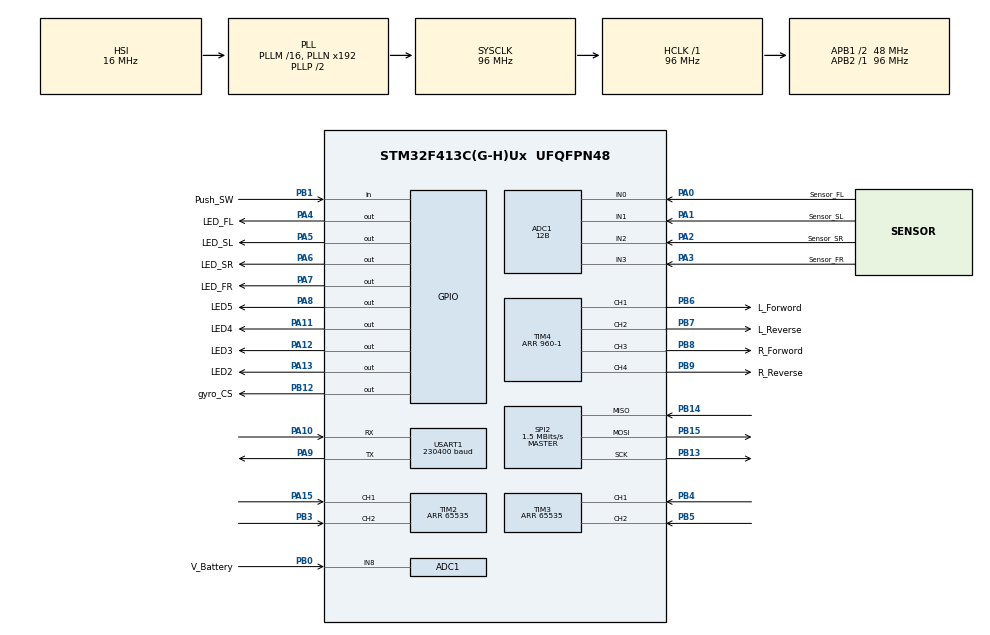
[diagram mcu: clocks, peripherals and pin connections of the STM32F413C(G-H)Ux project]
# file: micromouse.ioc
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ADC1.Channel-0\#ChannelRegularConversion=ADC_CHANNEL_8
ADC1.Channel-1\#ChannelRegularConversion=ADC_CHANNEL_0
ADC1.Channel-2\#ChannelRegularConversion=ADC_CHANNEL_1
ADC1.Channel-3\#ChannelRegularConversion=ADC_CHANNEL_2
ADC1.Channel-4\#ChannelRegularConversion=ADC_CHANNEL_3
ADC1.ClockPrescaler=ADC_CLOCK_SYNC_PCLK_DIV4
ADC1.ContinuousConvMode=DISABLE
ADC1.DMAContinuousRequests=ENABLE
ADC1.EOCSelection=ADC_EOC_SEQ_CONV
ADC1.ExternalTrigConv=ADC_EXTERNALTRIGCONV_T1_CC3
ADC1.ExternalTrigConvEdge=ADC_EXTERNALTRIGCONVEDGE_RISINGFALLING
ADC1.NbrOfConversion=5
ADC1.NbrOfConversionFlag=1
ADC1.Rank-0\#ChannelRegularConversion=1
ADC1.Rank-1\#ChannelRegularConversion=2
ADC1.Rank-2\#ChannelRegularConversion=3
ADC1.Rank-3\#ChannelRegularConversion=4
ADC1.Rank-4\#ChannelRegularConversion=5
ADC1.Resolution=ADC_RESOLUTION_12B
ADC1.SamplingTime-0\#ChannelRegularConversion=ADC_SAMPLETIME_56CYCLES
ADC1.SamplingTime-1\#ChannelRegularConversion=ADC_SAMPLETIME_56CYCLES
ADC1.SamplingTime-2\#ChannelRegularConversion=ADC_SAMPLETIME_56CYCLES
ADC1.SamplingTime-3\#ChannelRegularConversion=ADC_SAMPLETIME_56CYCLES
ADC1.SamplingTime-4\#ChannelRegularConversion=ADC_SAMPLETIME_56CYCLES
ADC1.ScanConvMode=ENABLE
ADC1.master=1
Dma.ADC1.2.Direction=DMA_PERIPH_TO_MEMORY
Dma.ADC1.2.FIFOMode=DMA_FIFOMODE_DISABLE
Dma.ADC1.2.Instance=DMA2_Stream0
Dma.ADC1.2.MemDataAlignment=DMA_MDATAALIGN_HALFWORD
Dma.ADC1.2.MemInc=DMA_MINC_ENABLE
Dma.ADC1.2.Mode=DMA_CIRCULAR
Dma.ADC1.2.PeriphDataAlignment=DMA_PDATAALIGN_HALFWORD
Dma.ADC1.2.PeriphInc=DMA_PINC_DISABLE
Dma.ADC1.2.Priority=DMA_PRIORITY_VERY_HIGH
Dma.Request0=SPI2_RX
Dma.Request1=SPI2_TX
Dma.Request2=ADC1
Dma.Request3=TIM1_CH1
Dma.Request4=TIM1_CH2
Dma.SPI2_RX.0.Direction=DMA_PERIPH_TO_MEMORY
Dma.SPI2_RX.0.FIFOMode=DMA_FIFOMODE_DISABLE
Dma.SPI2_RX.0.Instance=DMA1_Stream3
Dma.SPI2_RX.0.MemDataAlignment=DMA_MDATAALIGN_BYTE
Dma.SPI2_RX.0.MemInc=DMA_MINC_ENABLE
Dma.SPI2_RX.0.Mode=DMA_NORMAL
Dma.SPI2_RX.0.PeriphDataAlignment=DMA_PDATAALIGN_BYTE
Dma.SPI2_RX.0.PeriphInc=DMA_PINC_DISABLE
Dma.SPI2_RX.0.Priority=DMA_PRIORITY_HIGH
Dma.SPI2_TX.1.Direction=DMA_MEMORY_TO_PERIPH
Dma.SPI2_TX.1.FIFOMode=DMA_FIFOMODE_DISABLE
Dma.SPI2_TX.1.Instance=DMA1_Stream4
Dma.SPI2_TX.1.MemDataAlignment=DMA_MDATAALIGN_BYTE
Dma.SPI2_TX.1.MemInc=DMA_MINC_ENABLE
Dma.SPI2_TX.1.Mode=DMA_NORMAL
Dma.SPI2_TX.1.PeriphDataAlignment=DMA_PDATAALIGN_BYTE
Dma.SPI2_TX.1.PeriphInc=DMA_PINC_DISABLE
Dma.SPI2_TX.1.Priority=DMA_PRIORITY_HIGH
Dma.TIM1_CH1.3.Direction=DMA_MEMORY_TO_PERIPH
Dma.TIM1_CH1.3.FIFOMode=DMA_FIFOMODE_DISABLE
Dma.TIM1_CH1.3.Instance=DMA2_Stream1
Dma.TIM1_CH1.3.MemDataAlignment=DMA_MDATAALIGN_HALFWORD
Dma.TIM1_CH1.3.MemInc=DMA_MINC_ENABLE
Dma.TIM1_CH1.3.Mode=DMA_CIRCULAR
Dma.TIM1_CH1.3.PeriphDataAlignment=DMA_PDATAALIGN_HALFWORD
Dma.TIM1_CH1.3.PeriphInc=DMA_PINC_DISABLE
Dma.TIM1_CH1.3.Priority=DMA_PRIORITY_HIGH
Dma.TIM1_CH2.4.Direction=DMA_MEMORY_TO_PERIPH
Dma.TIM1_CH2.4.FIFOMode=DMA_FIFOMODE_DISABLE
Dma.TIM1_CH2.4.Instance=DMA2_Stream2
Dma.TIM1_CH2.4.MemDataAlignment=DMA_MDATAALIGN_HALFWORD
Dma.TIM1_CH2.4.MemInc=DMA_MINC_ENABLE
Dma.TIM1_CH2.4.Mode=DMA_CIRCULAR
Dma.TIM1_CH2.4.PeriphDataAlignment=DMA_PDATAALIGN_HALFWORD
Dma.TIM1_CH2.4.PeriphInc=DMA_PINC_DISABLE
Dma.TIM1_CH2.4.Priority=DMA_PRIORITY_HIGH
Mcu.Family=STM32F4
Mcu.Name=STM32F413C(G-H)Ux
Mcu.Package=UFQFPN48
NVIC.DMA1_Stream3_IRQn=true\:0\:0\:false\:false\:true\:false\:true
NVIC.DMA1_Stream4_IRQn=true\:0\:0\:false\:false\:true\:false\:true
NVIC.DMA2_Stream0_IRQn=true\:0\:0\:true\:false\:true\:false\:true
NVIC.DMA2_Stream1_IRQn=true\:1\:0\:true\:false\:true\:false\:true
NVIC.DMA2_Stream2_IRQn=true\:1\:0\:true\:false\:true\:false\:true
NVIC.PriorityGroup=NVIC_PRIORITYGROUP_4
NVIC.TIM6_DAC_IRQn=true\:2\:0\:true\:false\:true\:true\:true
PA0.GPIO_Label=Sensor_FL
PA0.Signal=ADCx_IN0
PA1.GPIO_Label=Sensor_SL
PA1.Signal=ADCx_IN1
PA10.Mode=Asynchronous
PA10.Signal=USART1_RX
PA11.GPIO_Label=LED4
PA11.GPIO_PuPd=GPIO_PULLDOWN
PA11.GPIO_Speed=GPIO_SPEED_FREQ_VERY_HIGH
PA11.Signal=GPIO_Output
PA12.GPIO_Label=LED3
PA12.GPIO_PuPd=GPIO_PULLDOWN
PA12.GPIO_Speed=GPIO_SPEED_FREQ_VERY_HIGH
PA12.Signal=GPIO_Output
PA13.GPIO_Label=LED2
PA13.GPIO_PuPd=GPIO_PULLDOWN
PA13.GPIO_Speed=GPIO_SPEED_FREQ_VERY_HIGH
PA13.Signal=GPIO_Output
PA15.Signal=S_TIM2_CH1_ETR
PA2.GPIO_Label=Sensor_SR
PA2.Signal=ADCx_IN2
PA3.GPIO_Label=Sensor_FR
PA3.Signal=ADCx_IN3
PA4.GPIO_Label=LED_FL
PA4.GPIO_Speed=GPIO_SPEED_FREQ_VERY_HIGH
PA4.Signal=GPIO_Output
PA5.GPIO_Label=LED_SL
PA5.GPIO_Speed=GPIO_SPEED_FREQ_VERY_HIGH
PA5.Signal=GPIO_Output
PA6.GPIO_Label=LED_SR
PA6.GPIO_Speed=GPIO_SPEED_FREQ_VERY_HIGH
PA6.PinState=GPIO_PIN_RESET
PA6.Signal=GPIO_Output
PA7.GPIO_Label=LED_FR
PA7.GPIO_Speed=GPIO_SPEED_FREQ_VERY_HIGH
PA7.Signal=GPIO_Output
PA8.GPIO_Label=LED5
PA8.GPIO_PuPd=GPIO_PULLDOWN
PA8.GPIO_Speed=GPIO_SPEED_FREQ_VERY_HIGH
PA8.Signal=GPIO_Output
PA9.Mode=Asynchronous
PA9.Signal=USART1_TX
PB0.GPIO_Label=V_Battery
PB0.Signal=ADCx_IN8
PB1.GPIO_Label=Push_SW
PB1.Signal=GPIO_Input
PB12.GPIO_Label=gyro_CS
PB12.GPIO_Speed=GPIO_SPEED_FREQ_VERY_HIGH
PB12.Signal=GPIO_Output
PB13.Mode=Full_Duplex_Master
PB13.Signal=SPI2_SCK
PB14.Mode=Full_Duplex_Master
PB14.Signal=SPI2_MISO
PB15.Mode=Full_Duplex_Master
PB15.Signal=SPI2_MOSI
PB3.Signal=S_TIM2_CH2
PB4.Signal=S_TIM3_CH1
PB5.Signal=S_TIM3_CH2
PB6.GPIO_Label=L_Forword
PB6.GPIO_Speed=GPIO_SPEED_FREQ_VERY_HIGH
PB6.Signal=S_TIM4_CH1
PB7.GPIO_Label=L_Reverse
PB7.GPIO_Speed=GPIO_SPEED_FREQ_VERY_HIGH
PB7.Signal=S_TIM4_CH2
PB8.GPIO_Label=R_Forword
PB8.GPIO_Speed=GPIO_SPEED_FREQ_VERY_HIGH
PB8.Signal=S_TIM4_CH3
PB9.GPIO_Label=R_Reverse
PB9.GPIO_Speed=GPIO_SPEED_FREQ_VERY_HIGH
PB9.Signal=S_TIM4_CH4
ProjectManager.HeapSize=0x200
ProjectManager.StackSize=0x400
ProjectManager.TargetToolchain=Makefile
RCC.AHBFreq_Value=96000000
RCC.APB1CLKDivider=RCC_HCLK_DIV2
RCC.APB1Freq_Value=48000000
RCC.APB1TimFreq_Value=96000000
RCC.APB2Freq_Value=96000000
RCC.APB2TimFreq_Value=96000000
RCC.CortexFreq_Value=96000000
RCC.HCLKFreq_Value=96000000
RCC.SYSCLKFreq_VALUE=96000000
RCC.SYSCLKSource=RCC_SYSCLKSOURCE_PLLCLK
RCC.USBFreq_Value=96000000
RCC.VCOOutputFreq_Value=192000000
SH.ADCx_IN0.0=ADC1_IN0,IN0
SH.ADCx_IN1.0=ADC1_IN1,IN1
SH.ADCx_IN2.0=ADC1_IN2,IN2
SH.ADCx_IN3.0=ADC1_IN3,IN3
SH.ADCx_IN8.0=ADC1_IN8,IN8
SH.S_TIM2_CH1_ETR.0=TIM2_CH1,Encoder_Interface
SH.S_TIM2_CH2.0=TIM2_CH2,Encoder_Interface
SH.S_TIM3_CH1.0=TIM3_CH1,Encoder_Interface
SH.S_TIM3_CH2.0=TIM3_CH2,Encoder_Interface
SH.S_TIM4_CH1.0=TIM4_CH1,PWM Generation1 CH1
SH.S_TIM4_CH2.0=TIM4_CH2,PWM Generation2 CH2
SH.S_TIM4_CH3.0=TIM4_CH3,PWM Generation3 CH3
SH.S_TIM4_CH4.0=TIM4_CH4,PWM Generation4 CH4
SPI2.BaudRatePrescaler=SPI_BAUDRATEPRESCALER_32
SPI2.CLKPhase=SPI_PHASE_2EDGE
SPI2.CLKPolarity=SPI_POLARITY_HIGH
SPI2.CalculateBaudRate=1.5 MBits/s
SPI2.Direction=SPI_DIRECTION_2LINES
SPI2.Mode=SPI_MODE_MASTER
SPI2.VirtualType=VM_MASTER
TIM1.AutomaticOutput=TIM_AUTOMATICOUTPUT_DISABLE
TIM1.Channel-Output\ Compare3\ No\ Output=TIM_CHANNEL_3
TIM1.Channel-PWM\ Generation1\ No\ Output=TIM_CHANNEL_1
TIM1.Channel-PWM\ Generation2\ No\ Output=TIM_CHANNEL_2
TIM1.ClockDivision=TIM_CLOCKDIVISION_DIV1
TIM1.OCMode_3=TIM_OCMODE_TOGGLE
TIM1.Period=64000-1
TIM1.Prescaler=0
TIM1.Pulse-Output\ Compare3\ No\ Output=5760
TIM1.Pulse-PWM\ Generation1\ No\ Output=2-1
TIM1.Pulse-PWM\ Generation2\ No\ Output=7000
TIM1.TIM_MasterOutputTrigger=TIM_TRGO_RESET
TIM2.EncoderMode=TIM_ENCODERMODE_TI12
TIM2.Period=65535
TIM3.EncoderMode=TIM_ENCODERMODE_TI12
TIM3.Period=65535
TIM4.Channel-PWM\ Generation1\ CH1=TIM_CHANNEL_1
TIM4.Channel-PWM\ Generation2\ CH2=TIM_CHANNEL_2
TIM4.Channel-PWM\ Generation3\ CH3=TIM_CHANNEL_3
TIM4.Channel-PWM\ Generation4\ CH4=TIM_CHANNEL_4
TIM4.OCMode_PWM-PWM\ Generation1\ CH1=TIM_OCMODE_PWM2
TIM4.OCMode_PWM-PWM\ Generation2\ CH2=TIM_OCMODE_PWM2
TIM4.OCMode_PWM-PWM\ Generation3\ CH3=TIM_OCMODE_PWM2
TIM4.OCMode_PWM-PWM\ Generation4\ CH4=TIM_OCMODE_PWM2
TIM4.Period=960-1
TIM6.Period=24000-1
TIM6.Prescaler=4-1
USART1.BaudRate=230400
USART1.VirtualMode=VM_ASYNC
VP_TIM1_VS_ClockSourceINT.Mode=Internal
VP_TIM1_VS_no_output1.Mode=PWM Generation1 No Output
VP_TIM1_VS_no_output2.Mode=PWM Generation2 No Output
VP_TIM1_VS_no_output3.Mode=Output Compare3 No Output
VP_TIM4_VS_ClockSourceINT.Mode=Internal
VP_TIM6_VS_ClockSourceINT.Mode=Enable_Timer
board=custom

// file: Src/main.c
/* USER CODE BEGIN Header */
/**
  ******************************************************************************
  * @file           : main.c
  * @brief          : Main program body
  ******************************************************************************
  * @attention
  *
  * <h2><center>&copy; Copyright (c) 2020 STMicroelectronics.
  * All rights reserved.</center></h2>
  *
  * This software component is licensed by ST under BSD 3-Clause license,
  * the "License"; You may not use this file except in compliance with the
  * License. You may obtain a copy of the License at:
  *                        opensource.org/licenses/BSD-3-Clause
  *
  ******************************************************************************
  */
/* USER CODE END Header */

#include "main.h"
#include "adc.h"
#include "dma.h"
#include "spi.h"
#include "tim.h"
#include "usart.h"
#include "gpio.h"

/* USER CODE BEGIN Includes */
//#include "index.h"
#include "mode.h"
#include "ir_sensor.h"
#include "interrupt.h"
#include "imu.h"
#include "motor.h"
#include "encorder.h"
#include "target.h"
#include "movement.h"
#include "exvol.h"
#include "control.h"
#include "module_test.h"
#include "param.h"
#include "adjust.h"
#include "mouse_state.h"

/*from matlab*/
#include "maze_init.h"
#include "maze_solve.h"
#include "matlab_code_gen_data.h"
/* USER CODE END Includes */

/* USER CODE BEGIN PTD */
typedef enum {
	search_mode 	= 0,
 	fust_run_mode 	= 1,
} maze_search_flg;

/* USER CODE END PTD */

void SystemClock_Config(void);

int main(void)
{
  /* USER CODE BEGIN 1 */
  /*迷路変数定義*/
  static uint8_t maze_x_size = x_size;//x方向の壁の枚数(x方向のマスの数+1)
  static uint8_t maze_y_size = y_size;//y方向の壁の枚数(y方向のマスの数+1)
  static uint8_t goal_size = g_size; //ゴールのマスの数
  static uint8_t maze_goal[18] = goal_cordinate;
  static uint8_t m_wall_tmp[1024];//迷路情報格納用配列
  static uint8_t m_search_tmp[1024];//探索情報格納用配列
  static uint8_t run_mode = search_mode;

  /* USER CODE END 1 */

  /* MCU Configuration--------------------------------------------------------*/

  /* Reset of all peripherals, Initializes the Flash interface and the Systick. */
  HAL_Init();

  /* Configure the system clock */
  SystemClock_Config();

  /* Initialize all configured peripherals */
  MX_GPIO_Init();
  MX_DMA_Init();
  MX_USART1_UART_Init();
  MX_TIM4_Init();
  MX_SPI2_Init();
  MX_ADC1_Init();
  MX_TIM2_Init();
  MX_TIM3_Init();
  MX_TIM6_Init();
  MX_TIM1_Init();
  /* USER CODE BEGIN 2 */

  /* m 各関数初期化　*/
  Motor_Initialize(); 			/*モータ用タイマ設定*/
  Communication_Initialize( );	/*printf,scanf用の設定*/
  IMU_Initialize();				/*IMU初期設定*/
  Encoder_Initialize();			/*Encoderタイマ設定、位相初期化*/
  Interrupt_Initialize( );		/*interrupt処理用タイマ(TIM6)初期化*/
  //Battery_LimiterVoltage();		/*a バッテリー下限処理*/

  /* USER CODE END 2 */

  /* Infinite loop */
  while (1)
  {

    /* USER CODE BEGIN 3 */
	  mode_main();//モードの選定、開始処理

  	/*ここからモードごとの処理に移行*/
	  switch(get_mode_number()){

	    case 0://データ吐き出し用
  	  data_read();
	    break;

	  case 1:
       log_init();
	     set_mode_ctrl(trace);
       half_acceleration();
       constant_speed();
       half_deceleration();
       HAL_Delay(1000);
		  break;

	  case 2:
       log_init();
       set_accel_mode(deceleration);
       HAL_Delay(20000);
 		  // for(int i=0; i<=100; i += 1){
			//   set_duty_r(i);
			//   set_duty_l(-i);
			//   HAL_Delay(5);
		  // }
		  // for(int i=100; i>=-100; i -= 1){
			//   set_duty_r(i);
			//   set_duty_l(-i);
			//   HAL_Delay(5);
		  // }
 		  // for(int i=-100; i<0; i += 1){
			//   set_duty_r(i);
			//   set_duty_l(-i);
			//   HAL_Delay(5);
		  // }

      break;

	  case 3:
      // set_mode_ctrl(front_wall);
      // HAL_Delay(5000);
      fornt_wall_calibrate();
		  break;

	  case 4:
      set_accel_mode(deceleration);
      turn_clk_90();
      HAL_Delay(500);
      turn_conclk_90();
      HAL_Delay(500);
		  break;

	  case 5:
    //スラロームテスト
      set_mode_ctrl(side_wall);
      start_acceleration();
      half_acceleration();
      constant_speed();
      constant_speed();
      set_mode_ctrl(trace);
      slalom_conclock_90();
      constant_speed();
      constant_speed();
      half_deceleration();
		  break;

	  case 6:
    //スラロームテスト
      set_mode_ctrl(side_wall);
      start_acceleration();
      half_acceleration();
      constant_speed();
      constant_speed();
      set_mode_ctrl(trace);
      slalom_clock_90();
      constant_speed();
      constant_speed();
      half_deceleration();
      break;

	  case 7:
      module_test();
		  break;

	  /*最短走行*/
	  case 14:

		  break;

	  /*迷路探索*/
	  case 15:
		  /*m迷路データの初期化*/
		  maze_init(maze_y_size, maze_x_size, m_wall_tmp, m_search_tmp);

		  /*探索モードで走行*/
		  run_mode = search_mode;
		  maze_solve(m_wall_tmp, m_search_tmp, maze_y_size, maze_x_size, maze_goal, goal_size, run_mode);

		  break;
	  }
    clr_mode_state();
    Sensor_StopADC();

	  set_duty_r(0);	//motor_r 停止
	  set_duty_l(0);	//motor_l 停止

	  for(int i=0; i<3; i++){ //m モード処理終了時、LEDを3回点灯
	  HAL_GPIO_WritePin(GPIOA,LED2_Pin|LED3_Pin|LED4_Pin|LED5_Pin, GPIO_PIN_SET);
	  HAL_Delay(700);
	  HAL_GPIO_WritePin(GPIOA,LED2_Pin|LED3_Pin|LED4_Pin|LED5_Pin, GPIO_PIN_RESET);
	  HAL_Delay(300);
	  }

  }
  /* USER CODE END 3 */
}

void SystemClock_Config(void)
{
  RCC_OscInitTypeDef RCC_OscInitStruct = {0};
  RCC_ClkInitTypeDef RCC_ClkInitStruct = {0};

  /** Configure the main internal regulator output voltage
  */
  __HAL_RCC_PWR_CLK_ENABLE();
  __HAL_PWR_VOLTAGESCALING_CONFIG(PWR_REGULATOR_VOLTAGE_SCALE1);
  /** Initializes the CPU, AHB and APB busses clocks
  */
  RCC_OscInitStruct.OscillatorType = RCC_OSCILLATORTYPE_HSI;
  RCC_OscInitStruct.HSIState = RCC_HSI_ON;
  RCC_OscInitStruct.HSICalibrationValue = RCC_HSICALIBRATION_DEFAULT;
  RCC_OscInitStruct.PLL.PLLState = RCC_PLL_ON;
  RCC_OscInitStruct.PLL.PLLSource = RCC_PLLSOURCE_HSI;
  RCC_OscInitStruct.PLL.PLLM = 16;
  RCC_OscInitStruct.PLL.PLLN = 192;
  RCC_OscInitStruct.PLL.PLLP = RCC_PLLP_DIV2;
  RCC_OscInitStruct.PLL.PLLQ = 2;
  RCC_OscInitStruct.PLL.PLLR = 2;
  if (HAL_RCC_OscConfig(&RCC_OscInitStruct) != HAL_OK)
  {
    Error_Handler();
  }
  /** Initializes the CPU, AHB and APB busses clocks
  */
  RCC_ClkInitStruct.ClockType = RCC_CLOCKTYPE_HCLK|RCC_CLOCKTYPE_SYSCLK
                              |RCC_CLOCKTYPE_PCLK1|RCC_CLOCKTYPE_PCLK2;
  RCC_ClkInitStruct.SYSCLKSource = RCC_SYSCLKSOURCE_PLLCLK;
  RCC_ClkInitStruct.AHBCLKDivider = RCC_SYSCLK_DIV1;
  RCC_ClkInitStruct.APB1CLKDivider = RCC_HCLK_DIV2;
  RCC_ClkInitStruct.APB2CLKDivider = RCC_HCLK_DIV1;

  if (HAL_RCC_ClockConfig(&RCC_ClkInitStruct, FLASH_LATENCY_3) != HAL_OK)
  {
    Error_Handler();
  }
}

void Error_Handler(void)
{
}

/************************ (C) COPYRIGHT STMicroelectronics *****END OF FILE****/
